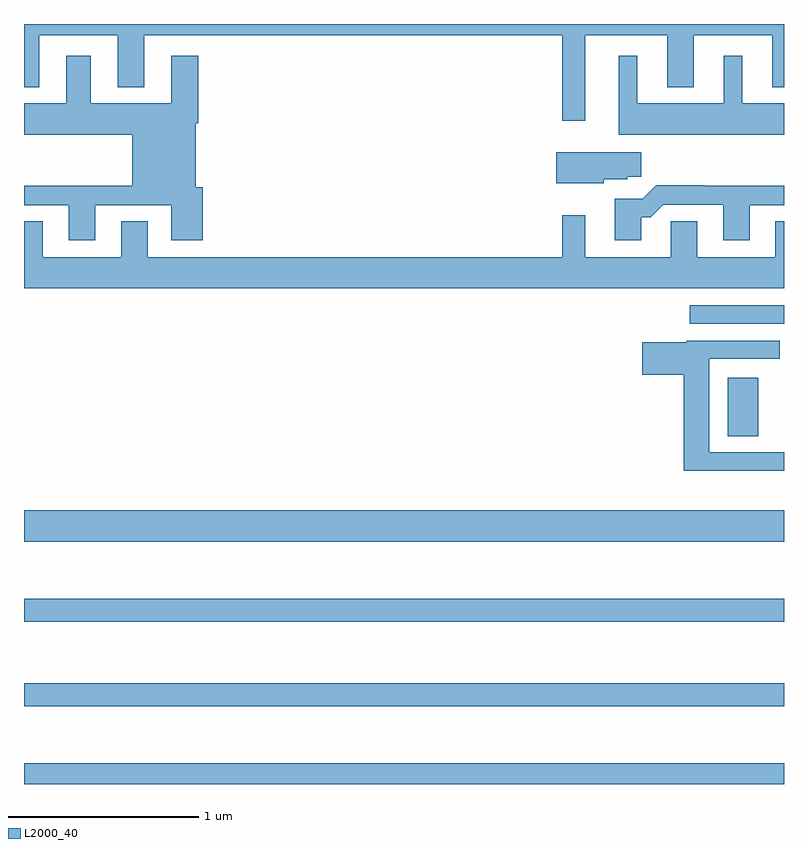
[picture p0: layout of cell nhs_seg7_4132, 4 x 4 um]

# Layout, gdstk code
import gdstk
lib = gdstk.Library(unit=1e-6, precision=1e-09)
def R(c, l, rs):  # rectangles x0, y0, x1, y1
    for r in rs: c.add(gdstk.rectangle(r[:2], r[2:], *l))
def P(c, l, *ps):  # polygons
    for p in ps: c.add(gdstk.Polygon(p, *l))
L2000_40 = (2000, 40)

nhs_seg7_4132 = lib.new_cell('nhs_seg7_4132')
R(nhs_seg7_4132, L2000_40, [(373,1006,377,1006.108), (373,1006.41,377,1006.531), (373,1006.854,377,1006.975), (373,1007.276,377,1007.44), (376.703,1007.83,376.864,1008.139), (376.503,1008.423,377,1008.519)])
P(nhs_seg7_4132, L2000_40, [(375.955,1009.94),(376.385,1009.94),(376.385,1009.667),(376.525,1009.667),(376.525,1009.94),(376.937,1009.94),(376.937,1009.667),(377,1009.667),(377,1010),(373,1010),(373,1009.667),(373.081,1009.667),(373.081,1009.94),(373.493,1009.94),(373.493,1009.667),(373.633,1009.667),(373.633,1009.94),(375.834,1009.94),(375.834,1009.491),(375.955,1009.491)],
  [(377,1009.582),(376.78,1009.582),(376.78,1009.834),(376.682,1009.834),(376.682,1009.582),(376.228,1009.582),(376.228,1009.834),(376.13,1009.834),(376.13,1009.418),(377,1009.418)],
  [(373.375,1009.047),(373.775,1009.047),(373.775,1008.861),(373.94,1008.861),(373.94,1009.14),(373.903,1009.14),(373.903,1009.478),(373.916,1009.478),(373.916,1009.834),(373.775,1009.834),(373.775,1009.582),(373.351,1009.582),(373.351,1009.834),(373.223,1009.834),(373.223,1009.582),(373,1009.582),(373,1009.418),(373.571,1009.418),(373.571,1009.148),(373,1009.148),(373,1009.047),(373.235,1009.047),(373.235,1008.861),(373.375,1008.861)],
  [(376.05,1009.184),(376.176,1009.184),(376.176,1009.195),(376.249,1009.195),(376.249,1009.324),(375.8,1009.324),(375.8,1009.163),(376.05,1009.163)],
  [(376.249,1008.983),(376.298,1008.983),(376.365,1009.05),(376.679,1009.05),(376.679,1008.861),(376.819,1008.861),(376.819,1009.047),(377,1009.047),(377,1009.148),(376.583,1009.148),(376.583,1009.151),(376.328,1009.151),(376.257,1009.08),(376.109,1009.08),(376.109,1008.861),(376.249,1008.861)],
  [(377,1008.962),(376.955,1008.962),(376.955,1008.772),(376.543,1008.772),(376.543,1008.962),(376.404,1008.962),(376.404,1008.772),(375.955,1008.772),(375.955,1008.994),(375.834,1008.994),(375.834,1008.772),(373.651,1008.772),(373.651,1008.962),(373.511,1008.962),(373.511,1008.772),(373.099,1008.772),(373.099,1008.962),(373,1008.962),(373,1008.608),(377,1008.608)],
  [(377,1007.745),(376.606,1007.745),(376.606,1008.237),(376.978,1008.237),(376.978,1008.333),(376.488,1008.333),(376.488,1008.325),(376.254,1008.325),(376.254,1008.155),(376.472,1008.155),(376.472,1007.648),(377,1007.648)])

lib.write_gds('nhs_seg7_4132.gds')
